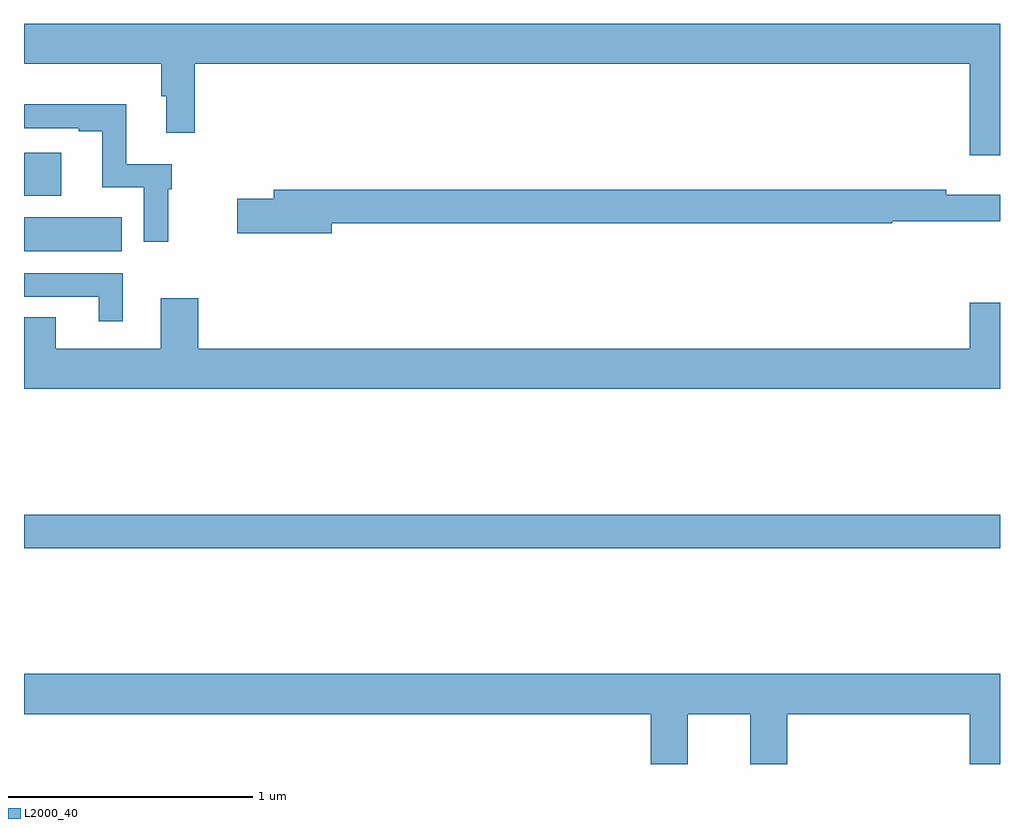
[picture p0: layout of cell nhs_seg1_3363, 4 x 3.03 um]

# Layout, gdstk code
import gdstk
lib = gdstk.Library(unit=1e-6, precision=1e-09)
def R(c, l, rs):  # rectangles x0, y0, x1, y1
    for r in rs: c.add(gdstk.rectangle(r[:2], r[2:], *l))
def P(c, l, *ps):  # polygons
    for p in ps: c.add(gdstk.Polygon(p, *l))
L2000_40 = (2000, 40)

nhs_seg1_3363 = lib.new_cell('nhs_seg1_3363')
R(nhs_seg1_3363, L2000_40, [(293,547.084,297,547.22), (293,548.3,293.401,548.44), (293,548.528,293.152,548.704)])
P(nhs_seg1_3363, L2000_40, [(297,549.232),(293,549.232),(293,549.068),(293.563,549.068),(293.563,548.936),(293.582,548.936),(293.582,548.787),(293.699,548.787),(293.699,549.068),(296.876,549.068),(296.876,548.694),(297,548.694)],
  [(293.591,548.555),(293.606,548.555),(293.606,548.658),(293.419,548.658),(293.419,548.902),(293,548.902),(293,548.805),(293.225,548.805),(293.225,548.793),(293.321,548.793),(293.321,548.562),(293.49,548.562),(293.49,548.34),(293.591,548.34)],
  [(294.262,548.416),(296.558,548.416),(296.558,548.424),(297,548.424),(297,548.533),(296.78,548.533),(296.78,548.552),(294.023,548.552),(294.023,548.516),(293.874,548.516),(293.874,548.374),(294.262,548.374)],
  [(293.404,548.211),(293,548.211),(293,548.115),(293.306,548.115),(293.306,548.013),(293.404,548.013)],
  [(297,548.089),(296.876,548.089),(296.876,547.9),(293.714,547.9),(293.714,548.107),(293.561,548.107),(293.561,547.9),(293.131,547.9),(293.131,548.03),(293,548.03),(293,547.736),(297,547.736)],
  [(295.72,546.404),(295.976,546.404),(295.976,546.199),(296.129,546.199),(296.129,546.404),(296.876,546.404),(296.876,546.199),(297,546.199),(297,546.568),(293,546.568),(293,546.404),(295.568,546.404),(295.568,546.199),(295.72,546.199)])

lib.write_gds('nhs_seg1_3363.gds')
